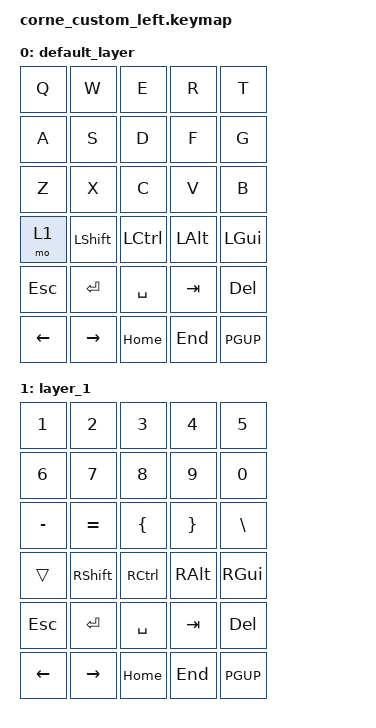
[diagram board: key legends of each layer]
/*
 * Copyright (c) 2024 The ZMK Contributors
 *
 * SPDX-License-Identifier: MIT
 */

#include <behaviors.dtsi>
#include <dt-bindings/zmk/keys.h>

/ {
    keymap {
        compatible = "zmk,keymap";

        default_layer {
            bindings = <
                // Row 0
                &kp Q         &kp W         &kp E         &kp R         &kp T
                // Row 1
                &kp A         &kp S         &kp D         &kp F         &kp G
                // Row 2
                &kp Z         &kp X         &kp C         &kp V         &kp B
                // Row 3
                &mo 1         &kp LSHFT     &kp LCTRL     &kp LALT      &kp LGUI
                // Row 4
                &kp ESC       &kp ENTER     &kp SPACE     &kp TAB       &kp DEL
                // Row 5
                &kp LEFT      &kp RIGHT     &kp HOME      &kp END       &kp PGUP
            >;
        };

        layer_1 {
            bindings = <
                // Row 0
                &kp N1        &kp N2        &kp N3        &kp N4        &kp N5
                // Row 1
                &kp N6        &kp N7        &kp N8        &kp N9        &kp N0
                // Row 2
                &kp MINUS     &kp EQUAL     &kp LBRC      &kp RBRC      &kp BSLH
                // Row 3
                &trans        &kp RSHFT     &kp RCTRL      &kp RALT      &kp RGUI
                // Row 4
                &kp ESC       &kp ENTER     &kp SPACE     &kp TAB       &kp DEL
                // Row 5
                &kp LEFT      &kp RIGHT     &kp HOME      &kp END       &kp PGUP
            >;
        };
    };
};
